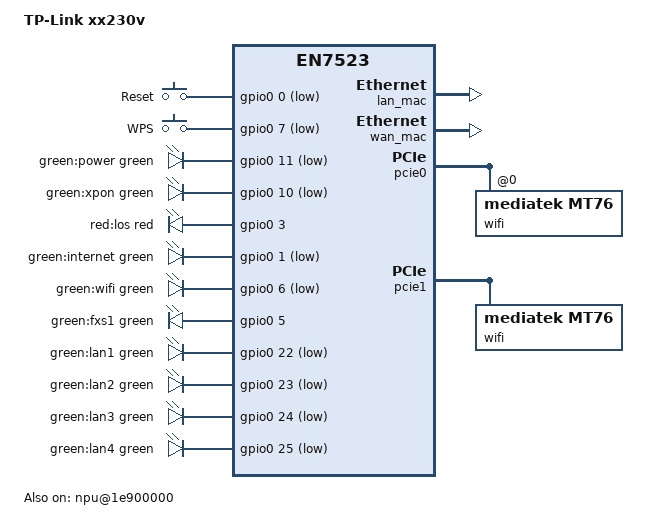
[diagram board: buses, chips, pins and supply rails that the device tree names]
// SPDX-License-Identifier: GPL-2.0-or-later OR MIT

/dts-v1/;

/* Bootloader installs ATF here */
/memreserve/ 0x80000000 0x200000;

#include <dt-bindings/leds/common.h>
#include <dt-bindings/gpio/gpio.h>
#include <dt-bindings/input/input.h>
#include "en7523.dtsi"

/ {
	model = "TP-Link xx230v";
	compatible = "tplink,xx230v", "airoha,en7523";

	chosen {
		bootargs = "console=ttyS0,115200 earlycon";
		stdout-path = "serial0:115200n8";
	};

	aliases {
		serial0 = &uart1;
		led-boot = &led_power;
		led-failsafe = &led_power;
		led-upgrade = &led_power;
		led-running = &led_power;
	};

	keys {
		compatible = "gpio-keys";
		reset_button {
			label = "Reset";
			linux,code = <KEY_RESTART>;
			gpios = <&gpio0 0 GPIO_ACTIVE_LOW>;
		};

		wps_button {
			label = "WPS";
			linux,code = <KEY_WPS_BUTTON>;
			gpios = <&gpio0 7 GPIO_ACTIVE_LOW>;
		};
	};

	leds {
		compatible = "gpio-leds";

		led_power: power {
			label = "green:power";
			color = <LED_COLOR_ID_GREEN>;
			function = LED_FUNCTION_STATUS;
			gpios = <&gpio0 11 GPIO_ACTIVE_LOW>;
		};

		xpon {
			label = "green:xpon";
			color = <LED_COLOR_ID_GREEN>;
			function = LED_FUNCTION_STATUS;
			gpios = <&gpio0 10 GPIO_ACTIVE_LOW>;
		};

		los {
			label = "red:los";
			color = <LED_COLOR_ID_RED>;
			function = LED_FUNCTION_STATUS;
			gpios = <&gpio0 3 GPIO_ACTIVE_HIGH>;
		};

		internet {
			label = "green:internet";
			color = <LED_COLOR_ID_GREEN>;
			function = LED_FUNCTION_STATUS;
			gpios = <&gpio0 1 GPIO_ACTIVE_LOW>;
		};

		wifi {
			label = "green:wifi";
			color = <LED_COLOR_ID_GREEN>;
			function = LED_FUNCTION_STATUS;
			gpios = <&gpio0 6 GPIO_ACTIVE_LOW>;
		};

		phone1 {
			label = "green:fxs1";
			color = <LED_COLOR_ID_GREEN>;
			function = LED_FUNCTION_STATUS;
			gpios = <&gpio0 5 GPIO_ACTIVE_HIGH>;
		};

		lan1 {
			label = "green:lan1";
			color = <LED_COLOR_ID_GREEN>;
			gpios = <&gpio0 22 GPIO_ACTIVE_LOW>;
		};

		lan2 {
			label = "green:lan2";
			color = <LED_COLOR_ID_GREEN>;
			gpios = <&gpio0 23 GPIO_ACTIVE_LOW>;
		};

		lan3 {
			label = "green:lan3";
			color = <LED_COLOR_ID_GREEN>;
			gpios = <&gpio0 24 GPIO_ACTIVE_LOW>;
		};

		lan4 {
			label = "green:lan4";
			color = <LED_COLOR_ID_GREEN>;
			gpios = <&gpio0 25 GPIO_ACTIVE_LOW>;
		};
	};

	watchdog@1fbf0100 {
		compatible = "airoha,en7581-wdt";
		reg = <0x1fbf0100 0x38>;

		clocks = <&scu EN7523_CLK_BUS>;
		clock-names = "bus";
	};

	npu@1e900000 {
		compatible = "airoha,en7581-npu";
		reg = <0x0 0x1e900000 0x0 0x313000>;
		memory-region = <&npu_binary>;
		memory-region-names = "binary";
		status = "okay";
		interrupts = <GIC_SPI 125 IRQ_TYPE_LEVEL_HIGH>,
		<GIC_SPI 103 IRQ_TYPE_LEVEL_HIGH>,
		<GIC_SPI 109 IRQ_TYPE_LEVEL_HIGH>,
		<GIC_SPI 113 IRQ_TYPE_LEVEL_HIGH>,
		<GIC_SPI 117 IRQ_TYPE_LEVEL_HIGH>,
		<GIC_SPI 134 IRQ_TYPE_LEVEL_HIGH>,
		<GIC_SPI 135 IRQ_TYPE_LEVEL_HIGH>,
		<GIC_SPI 136 IRQ_TYPE_LEVEL_HIGH>,
		<GIC_SPI 137 IRQ_TYPE_LEVEL_HIGH>,
		<GIC_SPI 118 IRQ_TYPE_LEVEL_HIGH>,
		<GIC_SPI 119 IRQ_TYPE_LEVEL_HIGH>,
		<GIC_SPI 120 IRQ_TYPE_LEVEL_HIGH>,
		<GIC_SPI 121 IRQ_TYPE_LEVEL_HIGH>,
		<GIC_SPI 122 IRQ_TYPE_LEVEL_HIGH>,
		<GIC_SPI 123 IRQ_TYPE_LEVEL_HIGH>;
	};
};

&gpio0 {
	status = "okay";

	// gpio-ranges = <&gpio0 0 0 64>;
	// gpio-ranges = <&gpio0 0 13 47>;
};

&nand {
	partitions {
		compatible = "fixed-partitions";
		#address-cells = <1>;
		#size-cells = <1>;

		partition@0 {
			label = "boot";
			reg = <0x00000000 0x00080000>;
			read-only;

			nvmem-layout@0 {
				compatible = "ascii-eq-delim-env";
				#address-cells = <1>;
				#size-cells = <1>;
				reg = <0x000729bb 0x00020000>;

				lan_mac: lan_mac {
					compatible = "mac-base";
					reg = <0x000729bb 0x0000000C>;
				};

				wan_mac: wan_mac {
					compatible = "mac-base";
					reg = <0x000729e3 0x0000000C>;
				};
			};
		};
		partition@80000 {
			label = "romfile";
			reg = <0x00080000 0x00020000>;
			read-only;
		};
		partition@a0000 {
			label = "misc";
			reg = <0x000a0000 0x00100000>;
			read-only;
			// eeprom_factory_0: eeprom@0 {
			// 	reg = <0x0 0x4da8>;
			// };

			// macaddr_factory_e000: macaddr@e000 {
			// 	compatible = "mac-base";
			// 	reg = <0xe000 0x6>;
			// 	#nvmem-cell-cells = <1>;
			// };
		};
		partition@1a0000 {
			label = "firmware";
			reg = <0x001a0000 0x01e60000>;
			read-only;
		};
		partition@2000000 {
			label = "firmware_slave";
			reg = <0x02000000 0x01e60000>;
			read-only;
		};
		partition@3fe0000 {
			label = "reserve";
			reg = <0x03fe0000 0x00020000>;
			read-only;
		};
		partition@8000000 {
			label = "nandspi";
			reg = <0x00000000 0x8000000>;
			read-only;
		};
	};
};

&pcie0 {
	status = "okay";

	wifi@0,0 {
		compatible = "mediatek,mt76";
		reg = <0x0000 0 0 0 0>;
		// airoha,eth = <&eth>;
		// airoha,npu = <&npu>;

		#address-cells = <1>;
		#size-cells = <0>;

		band@0 {
			reg = <0>;
			nvmem-cells = <&wan_mac 1>;
			nvmem-cell-names = "mac-address";
		};

		band@1 {
			reg = <1>;
			nvmem-cells = <&wan_mac 2>;
			nvmem-cell-names = "mac-address";
		};
	};
};

&pcie1 {
	status = "okay";

	wifi@1,0 {
		compatible = "mediatek,mt76";
		regs = <0x0000 0 0 0 0>;
		// airoha,eth = <&eth>;
		// airoha,npu = <&npu>;

		#address-cells = <1>;
		#size-cells = <0>;

		band@0 {
			reg = <0>;
			nvmem-cells = <&wan_mac 1>;
			nvmem-cell-names = "mac-address";
		};

		band@1 {
			reg = <1>;
			nvmem-cells = <&wan_mac 2>;
			nvmem-cell-names = "mac-address";
		};
	};
};

// &npu {
// 	status = "okay";
// };

// &eth {
// 	status = "okay";
// };

// &gdm1 {
// 	status = "okay";

// 	nvmem-cells = <&lan_mac 0>;
// 	nvmem-cell-names = "mac-address";
// };

// &switch {
// 	status = "okay";

// 	pinctrl-names = "default";
// 	pinctrl-0 = <&mdio_pins>;

// 	mdio {
// 		phy5: ethernet-phy@5 {
// 			compatible = "ethernet-phy-ieee802.3-c45";
// 			reg = <5>;
// 			reset-gpios = <&gpio0 14 GPIO_ACTIVE_LOW>;
// 		};

// 		phy8: ethernet-phy@8 {
// 			compatible = "ethernet-phy-ieee802.3-c45";
// 			reg = <8>;
// 			reset-gpios = <&gpio0 31 GPIO_ACTIVE_LOW>;
// 		};
// 	};
// };

// &gsw_phy1 {
// 	status = "okay";
// };

// &gsw_phy2 {
// 	status = "okay";
// };

// &gsw_port3 {
// 	status = "okay";
// };

// &gsw_port4 {
// 	status = "okay";
// };
